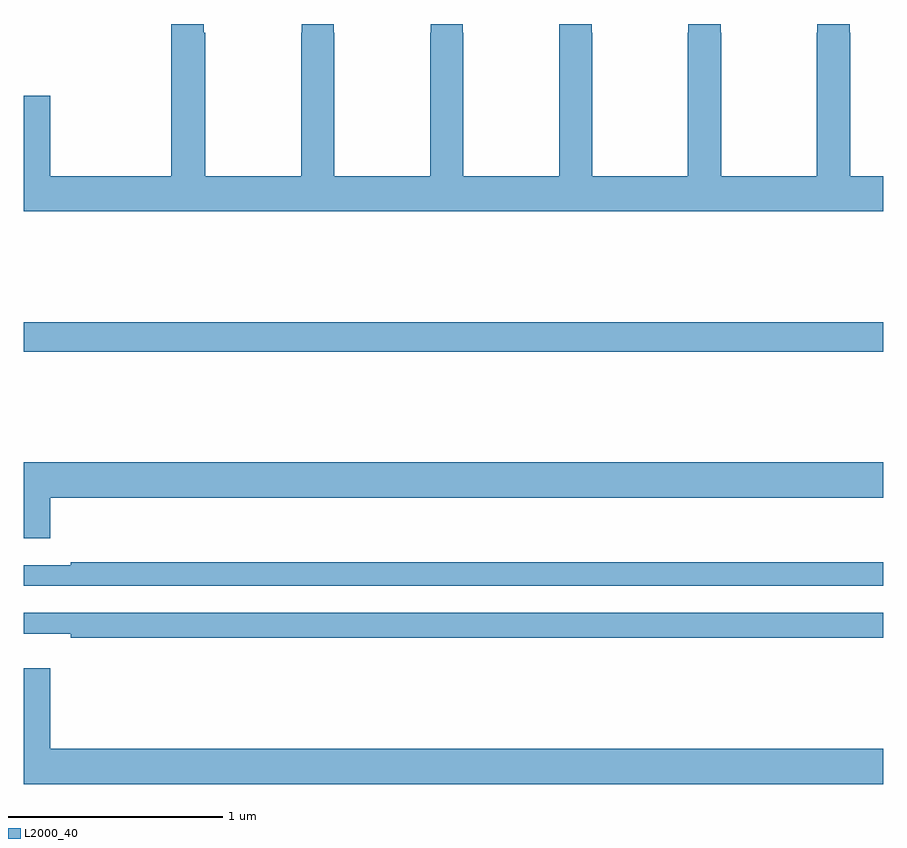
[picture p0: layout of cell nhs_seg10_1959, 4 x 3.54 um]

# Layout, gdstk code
import gdstk
lib = gdstk.Library(unit=1e-6, precision=1e-09)
def R(c, l, rs):  # rectangles x0, y0, x1, y1
    for r in rs: c.add(gdstk.rectangle(r[:2], r[2:], *l))
def P(c, l, *ps):  # polygons
    for p in ps: c.add(gdstk.Polygon(p, *l))
L2000_40 = (2000, 40)

nhs_seg10_1959 = lib.new_cell('nhs_seg10_1959')
R(nhs_seg10_1959, L2000_40, [(213,1320.976,217,1321.112)])
P(nhs_seg10_1959, L2000_40, [(217,1321.792),(216.846,1321.792),(216.846,1322.459),(216.843,1322.459),(216.843,1322.5),(216.693,1322.5),(216.693,1322.459),(216.691,1322.459),(216.691,1321.792),(216.246,1321.792),(216.246,1322.459),(216.243,1322.459),(216.243,1322.5),(216.093,1322.5),(216.093,1322.459),(216.091,1322.459),(216.091,1321.792),(215.646,1321.792),(215.646,1322.459),(215.643,1322.459),(215.643,1322.5),(215.493,1322.5),(215.493,1322.459),(215.491,1322.459),(215.491,1321.792),(215.046,1321.792),(215.046,1322.459),(215.043,1322.459),(215.043,1322.5),(214.893,1322.5),(214.893,1322.459),(214.891,1322.459),(214.891,1321.792),(214.446,1321.792),(214.446,1322.459),(214.443,1322.459),(214.443,1322.5),(214.293,1322.5),(214.293,1322.459),(214.291,1322.459),(214.291,1321.792),(213.846,1321.792),(213.846,1322.459),(213.839,1322.459),(213.839,1322.5),(213.686,1322.5),(213.686,1321.792),(213.124,1321.792),(213.124,1322.167),(213,1322.167),(213,1321.628),(217,1321.628)],
  [(213.124,1320.296),(217,1320.296),(217,1320.46),(213,1320.46),(213,1320.108),(213.124,1320.108)],
  [(217,1319.995),(213.22,1319.995),(213.22,1319.982),(213,1319.982),(213,1319.886),(217,1319.886)],
  [(217,1319.76),(213,1319.76),(213,1319.663),(213.22,1319.663),(213.22,1319.644),(217,1319.644)],
  [(217,1319.128),(213.124,1319.128),(213.124,1319.503),(213,1319.503),(213,1318.964),(217,1318.964)])

lib.write_gds('nhs_seg10_1959.gds')
